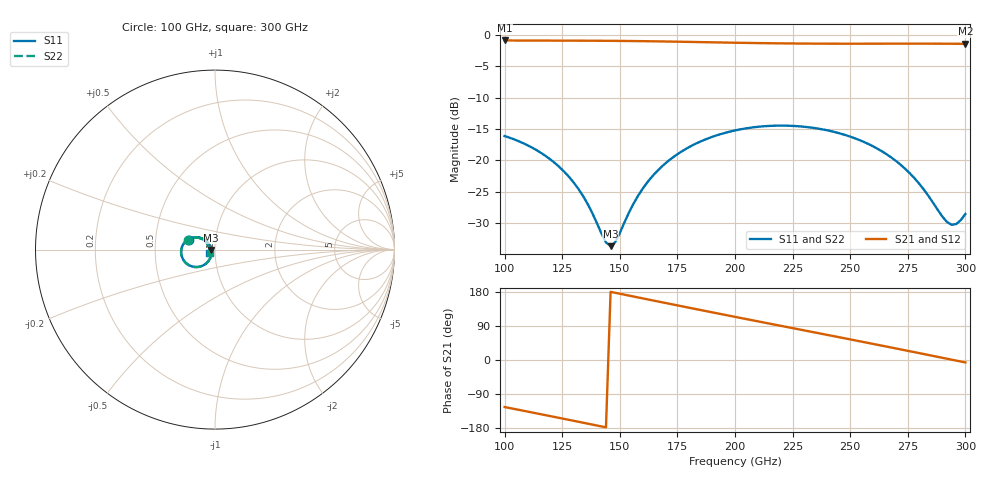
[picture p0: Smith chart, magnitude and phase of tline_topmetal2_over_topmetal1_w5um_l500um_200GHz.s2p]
#  GHZ S DB R 50
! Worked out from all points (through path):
!   101 points, 100 GHz to 300 GHz, reference 50 ohm
!   highest |S21| = -0.88 dB at 100 GHz (marker M1); lowest = -1.4 dB at 300 GHz (marker M2)
!   group delay of S21, straight-line fit = 3.36 ps
!   lowest |S11| = -33.6 dB at 146 GHz (marker M3), VSWR 1.04, Z = 48 - j0.267 ohm
!   |S11| at or under -10 dB: start of sweep to end of sweep
!   |S22| runs from -33.6 to -14.4 dB; largest |S21 - S12| = 9.9e-14
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100  -16.10 160.1  -0.88 -124.1  -0.88 -124.1  -16.10 160.4
110  -17.59 149.6  -0.90 -136.2  -0.90 -136.2  -17.58 149.9
120  -19.87 140.4  -0.91 -148.3  -0.91 -148.3  -19.86 140.8
128  -22.63 135.3  -0.91 -158.0  -0.91 -158.0  -22.62 135.7
134  -25.63 135.2  -0.92 -165.4  -0.92 -165.4  -25.62 135.6
144  -33.05 168.7  -0.94 -177.7  -0.94 -177.7  -33.02 169.2
146  -33.65 -172.3  -0.95 179.8  -0.95 179.8  -33.62 -171.8
148  -33.02 -153.4  -0.95 177.4  -0.95 177.4  -32.99 -152.9
158  -25.57 -120.2  -0.99 165.0  -0.99 165.0  -25.56 -119.7
162  -23.46 -119.7  -1.01 160.1  -1.01 160.1  -23.44 -119.2
168  -21.05 -122.3  -1.04 152.7  -1.04 152.7  -21.03 -121.8
182  -17.50 -134.0  -1.13 135.6  -1.13 135.6  -17.49 -133.5
200  -15.21 -152.1  -1.25 113.9  -1.25 113.9  -15.20 -151.6
216  -14.48 -168.9  -1.33 94.8  -1.33 94.8  -14.46 -168.3
234  -14.81 172.6  -1.39 73.4  -1.39 73.4  -14.79 173.2
252  -16.46 155.0  -1.40 52.0  -1.40 52.0  -16.45 155.7
268  -19.56 142.3  -1.39 32.7  -1.39 32.7  -19.55 143.0
280  -23.72 139.8  -1.39 18.1  -1.39 18.1  -23.72 140.5
292  -29.80 169.3  -1.40 3.4  -1.40 3.4  -29.85 170.0
294  -30.25 -178.7  -1.41 0.9  -1.41 0.9  -30.31 -177.8
296  -30.13 -166.1  -1.41 -1.5  -1.41 -1.5  -30.19 -165.1
300  -28.52 -145.9  -1.42 -6.5  -1.42 -6.5  -28.56 -144.7
